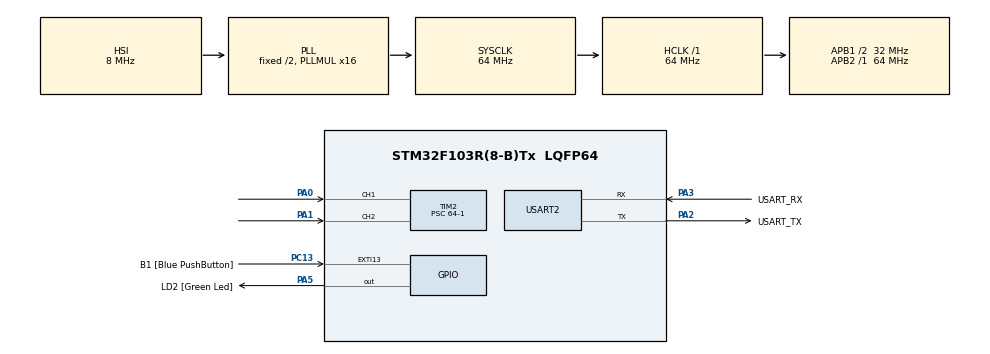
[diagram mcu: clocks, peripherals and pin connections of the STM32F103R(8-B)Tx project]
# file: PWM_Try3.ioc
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Mcu.Family=STM32F1
Mcu.Name=STM32F103R(8-B)Tx
Mcu.Package=LQFP64
NVIC.EXTI15_10_IRQn=true\:0\:0\:false\:false\:true\:true\:true\:true
NVIC.PriorityGroup=NVIC_PRIORITYGROUP_4
NVIC.TIM2_IRQn=true\:0\:0\:false\:false\:true\:true\:true\:true
PA0-WKUP.Signal=S_TIM2_CH1_ETR
PA1.Signal=S_TIM2_CH2
PA13.GPIO_Label=TMS
PA13.Mode=Serial_Wire
PA13.Signal=SYS_JTMS-SWDIO
PA14.GPIO_Label=TCK
PA14.Mode=Serial_Wire
PA14.Signal=SYS_JTCK-SWCLK
PA2.GPIO_Label=USART_TX
PA2.GPIO_Mode=GPIO_MODE_AF_PP
PA2.GPIO_PuPd=GPIO_NOPULL
PA2.GPIO_Speed=GPIO_SPEED_FREQ_LOW
PA2.Mode=Asynchronous
PA2.Signal=USART2_TX
PA3.GPIO_Label=USART_RX
PA3.GPIO_Mode=GPIO_MODE_AF_PP
PA3.GPIO_PuPd=GPIO_NOPULL
PA3.GPIO_Speed=GPIO_SPEED_FREQ_LOW
PA3.Mode=Asynchronous
PA3.Signal=USART2_RX
PA5.GPIO_Label=LD2 [Green Led]
PA5.GPIO_ModeDefaultOutputPP=GPIO_MODE_OUTPUT_PP
PA5.GPIO_PuPd=GPIO_NOPULL
PA5.GPIO_Speed=GPIO_SPEED_FREQ_LOW
PA5.Signal=GPIO_Output
PB3.GPIO_Label=SWO
PB3.Signal=SYS_JTDO-TRACESWO
PC13-TAMPER-RTC.GPIO_Label=B1 [Blue PushButton]
PC13-TAMPER-RTC.GPIO_PuPd=GPIO_NOPULL
PC13-TAMPER-RTC.Signal=GPXTI13
PC14-OSC32_IN.Mode=LSE-External-Oscillator
PC14-OSC32_IN.Signal=RCC_OSC32_IN
PC15-OSC32_OUT.Mode=LSE-External-Oscillator
PC15-OSC32_OUT.Signal=RCC_OSC32_OUT
PD0-OSC_IN.Mode=HSE-External-Clock-Source
PD0-OSC_IN.Signal=RCC_OSC_IN
PD1-OSC_OUT.Mode=HSE-External-Clock-Source
PD1-OSC_OUT.Signal=RCC_OSC_OUT
ProjectManager.HeapSize=0x200
ProjectManager.StackSize=0x400
ProjectManager.TargetToolchain=STM32CubeIDE
RCC.AHBFreq_Value=64000000
RCC.APB1CLKDivider=RCC_HCLK_DIV2
RCC.APB1Freq_Value=32000000
RCC.APB1TimFreq_Value=64000000
RCC.APB2Freq_Value=64000000
RCC.APB2TimFreq_Value=64000000
RCC.HCLKFreq_Value=64000000
RCC.PLLMUL=RCC_PLL_MUL16
RCC.RTCClockSelection=RCC_RTCCLKSOURCE_LSE
RCC.SYSCLKFreq_VALUE=64000000
RCC.SYSCLKSource=RCC_SYSCLKSOURCE_PLLCLK
RCC.USBFreq_Value=64000000
SH.S_TIM2_CH1_ETR.0=TIM2_CH1,Input_Capture1_from_TI1
SH.S_TIM2_CH2.0=TIM2_CH2,Input_Capture2_from_TI2
TIM2.Channel-Input_Capture1_from_TI1=TIM_CHANNEL_1
TIM2.Channel-Input_Capture2_from_TI2=TIM_CHANNEL_2
TIM2.ICPolarity_CH2=TIM_INPUTCHANNELPOLARITY_FALLING
TIM2.Prescaler=64-1
USART2.VirtualMode=VM_ASYNC
VP_TIM2_VS_ClockSourceINT.Mode=Internal
board=NUCLEO-F103RB

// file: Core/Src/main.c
/* USER CODE BEGIN Header */
/**
  ******************************************************************************
  * @file           : main.c
  * @brief          : Main program body
  ******************************************************************************
  * @attention
  *
  * Copyright (c) 2024 STMicroelectronics.
  * All rights reserved.
  *
  * This software is licensed under terms that can be found in the LICENSE file
  * in the root directory of this software component.
  * If no LICENSE file comes with this software, it is provided AS-IS.
  *
  ******************************************************************************
  */
/* USER CODE END Header */
#include "main.h"

TIM_HandleTypeDef htim2;

UART_HandleTypeDef huart2;

void SystemClock_Config(void);
static void MX_GPIO_Init(void);
static void MX_USART2_UART_Init(void);
static void MX_TIM2_Init(void);

/* USER CODE BEGIN 0 */
#define TIMCLOCK   64000000
#define PRESCALAR  64

uint32_t IC_Val1 = 0;
uint32_t IC_Val2 = 0;
uint32_t IC_Val3 = 0;
uint32_t Difference = 0;
uint32_t usWidth = 0;
uint32_t duty_cycle = 0;
uint32_t FreqDifference = 0;
int Is_First_Captured = 0;
int FreqCheck = 0;

/* Measure Frequency */
float frequency = 0;
float RealFreq = 0;

void HAL_TIM_IC_CaptureCallback(TIM_HandleTypeDef *htim)
{
	if (htim->Channel == HAL_TIM_ACTIVE_CHANNEL_1)
	{
		if (FreqCheck == 1)
		{
			IC_Val3 = HAL_TIM_ReadCapturedValue(htim, TIM_CHANNEL_1);
			if (IC_Val3 > IC_Val1)
			{
				FreqDifference = IC_Val3-IC_Val1;
			}

			else if (IC_Val1 > IC_Val3)
			{
				FreqDifference = (0xfffF - IC_Val1) + IC_Val3;
			}

			RealFreq = ((float)Difference / (float)FreqDifference) * 100.0;

			FreqCheck = 0;
//			__HAL_TIM_SET_COUNTER(htim, 0);
		}

		if (Is_First_Captured==0) // if the first rising edge is not captured
		{
			IC_Val1 = HAL_TIM_ReadCapturedValue(htim, TIM_CHANNEL_1); // read the first value
			Is_First_Captured = 1;  // set the first captured as true
			__HAL_TIM_SET_CAPTUREPOLARITY(htim, TIM_CHANNEL_1, TIM_INPUTCHANNELPOLARITY_FALLING);
//			__HAL_TIM_SET_COUNTER(htim, 0);

		}

		else if (Is_First_Captured==1)  // If the first rising edge is captured, now we will capture the second edge
		{
			IC_Val2 = HAL_TIM_ReadCapturedValue(htim, TIM_CHANNEL_1);  // read second value

			if (IC_Val2 > IC_Val1)
			{
				Difference = IC_Val2-IC_Val1;
			}

			else if (IC_Val1 > IC_Val2)
			{
				Difference = (0xfffF - IC_Val1) + IC_Val2;
			}

			float refClock = TIMCLOCK/(PRESCALAR);
			float mFactor = 1000000/refClock;

			usWidth = Difference*mFactor;

//			__HAL_TIM_SET_COUNTER(htim, 0);  // reset the counter
//			Is_First_Captured = 0; // set it back to false
			frequency = refClock/Difference;

//			__HAL_TIM_SET_COUNTER(htim, 0);  // reset the counter
			Is_First_Captured = 0; // set it back to false
			FreqCheck = 1;
			__HAL_TIM_SET_CAPTUREPOLARITY(htim, TIM_CHANNEL_1, TIM_INPUTCHANNELPOLARITY_RISING);
		}

	}

//	else if(htim->Channel == HAL_TIM_ACTIVE_CHANNEL_2)
//	{
//		IC_Val3 = HAL_TIM_ReadCapturedValue(htim, TIM_CHANNEL_2); // read the first value
//		//Is_First_Captured = 1;  // set the first captured as true
//		duty_cycle = 100*((IC_Val3 - IC_Val1)/frequency);
//	}
}
/* USER CODE END 0 */

int main(void)
{

  /* MCU Configuration--------------------------------------------------------*/

  /* Reset of all peripherals, Initializes the Flash interface and the Systick. */
  HAL_Init();

  /* Configure the system clock */
  SystemClock_Config();

  /* Initialize all configured peripherals */
  MX_GPIO_Init();
  MX_USART2_UART_Init();
  MX_TIM2_Init();
  /* USER CODE BEGIN 2 */
  HAL_TIM_IC_Start_IT(&htim2, TIM_CHANNEL_1);
  HAL_TIM_IC_Start_IT(&htim2, TIM_CHANNEL_2);
  /* USER CODE END 2 */

  /* Infinite loop */
  while (1)
  {

  }
}

void SystemClock_Config(void)
{
  RCC_OscInitTypeDef RCC_OscInitStruct = {0};
  RCC_ClkInitTypeDef RCC_ClkInitStruct = {0};

  /** Initializes the RCC Oscillators according to the specified parameters
  * in the RCC_OscInitTypeDef structure.
  */
  RCC_OscInitStruct.OscillatorType = RCC_OSCILLATORTYPE_HSI;
  RCC_OscInitStruct.HSIState = RCC_HSI_ON;
  RCC_OscInitStruct.HSICalibrationValue = RCC_HSICALIBRATION_DEFAULT;
  RCC_OscInitStruct.PLL.PLLState = RCC_PLL_ON;
  RCC_OscInitStruct.PLL.PLLSource = RCC_PLLSOURCE_HSI_DIV2;
  RCC_OscInitStruct.PLL.PLLMUL = RCC_PLL_MUL16;
  if (HAL_RCC_OscConfig(&RCC_OscInitStruct) != HAL_OK)
  {
    Error_Handler();
  }

  /** Initializes the CPU, AHB and APB buses clocks
  */
  RCC_ClkInitStruct.ClockType = RCC_CLOCKTYPE_HCLK|RCC_CLOCKTYPE_SYSCLK
                              |RCC_CLOCKTYPE_PCLK1|RCC_CLOCKTYPE_PCLK2;
  RCC_ClkInitStruct.SYSCLKSource = RCC_SYSCLKSOURCE_PLLCLK;
  RCC_ClkInitStruct.AHBCLKDivider = RCC_SYSCLK_DIV1;
  RCC_ClkInitStruct.APB1CLKDivider = RCC_HCLK_DIV2;
  RCC_ClkInitStruct.APB2CLKDivider = RCC_HCLK_DIV1;

  if (HAL_RCC_ClockConfig(&RCC_ClkInitStruct, FLASH_LATENCY_2) != HAL_OK)
  {
    Error_Handler();
  }
}

static void MX_TIM2_Init(void)
{

  TIM_ClockConfigTypeDef sClockSourceConfig = {0};
  TIM_MasterConfigTypeDef sMasterConfig = {0};
  TIM_IC_InitTypeDef sConfigIC = {0};

  htim2.Instance = TIM2;
  htim2.Init.Prescaler = 64-1;
  htim2.Init.CounterMode = TIM_COUNTERMODE_UP;
  htim2.Init.Period = 65535;
  htim2.Init.ClockDivision = TIM_CLOCKDIVISION_DIV1;
  htim2.Init.AutoReloadPreload = TIM_AUTORELOAD_PRELOAD_DISABLE;
  if (HAL_TIM_Base_Init(&htim2) != HAL_OK)
  {
    Error_Handler();
  }
  sClockSourceConfig.ClockSource = TIM_CLOCKSOURCE_INTERNAL;
  if (HAL_TIM_ConfigClockSource(&htim2, &sClockSourceConfig) != HAL_OK)
  {
    Error_Handler();
  }
  if (HAL_TIM_IC_Init(&htim2) != HAL_OK)
  {
    Error_Handler();
  }
  sMasterConfig.MasterOutputTrigger = TIM_TRGO_RESET;
  sMasterConfig.MasterSlaveMode = TIM_MASTERSLAVEMODE_DISABLE;
  if (HAL_TIMEx_MasterConfigSynchronization(&htim2, &sMasterConfig) != HAL_OK)
  {
    Error_Handler();
  }
  sConfigIC.ICPolarity = TIM_INPUTCHANNELPOLARITY_RISING;
  sConfigIC.ICSelection = TIM_ICSELECTION_DIRECTTI;
  sConfigIC.ICPrescaler = TIM_ICPSC_DIV1;
  sConfigIC.ICFilter = 0;
  if (HAL_TIM_IC_ConfigChannel(&htim2, &sConfigIC, TIM_CHANNEL_1) != HAL_OK)
  {
    Error_Handler();
  }
  sConfigIC.ICPolarity = TIM_INPUTCHANNELPOLARITY_FALLING;
  if (HAL_TIM_IC_ConfigChannel(&htim2, &sConfigIC, TIM_CHANNEL_2) != HAL_OK)
  {
    Error_Handler();
  }

}

static void MX_USART2_UART_Init(void)
{

  huart2.Instance = USART2;
  huart2.Init.BaudRate = 115200;
  huart2.Init.WordLength = UART_WORDLENGTH_8B;
  huart2.Init.StopBits = UART_STOPBITS_1;
  huart2.Init.Parity = UART_PARITY_NONE;
  huart2.Init.Mode = UART_MODE_TX_RX;
  huart2.Init.HwFlowCtl = UART_HWCONTROL_NONE;
  huart2.Init.OverSampling = UART_OVERSAMPLING_16;
  if (HAL_UART_Init(&huart2) != HAL_OK)
  {
    Error_Handler();
  }

}

static void MX_GPIO_Init(void)
{
  GPIO_InitTypeDef GPIO_InitStruct = {0};

  /* GPIO Ports Clock Enable */
  __HAL_RCC_GPIOC_CLK_ENABLE();
  __HAL_RCC_GPIOD_CLK_ENABLE();
  __HAL_RCC_GPIOA_CLK_ENABLE();
  __HAL_RCC_GPIOB_CLK_ENABLE();

  /*Configure GPIO pin Output Level */
  HAL_GPIO_WritePin(LD2_GPIO_Port, LD2_Pin, GPIO_PIN_RESET);

  /*Configure GPIO pin : B1_Pin */
  GPIO_InitStruct.Pin = B1_Pin;
  GPIO_InitStruct.Mode = GPIO_MODE_IT_RISING;
  GPIO_InitStruct.Pull = GPIO_NOPULL;
  HAL_GPIO_Init(B1_GPIO_Port, &GPIO_InitStruct);

  /*Configure GPIO pin : LD2_Pin */
  GPIO_InitStruct.Pin = LD2_Pin;
  GPIO_InitStruct.Mode = GPIO_MODE_OUTPUT_PP;
  GPIO_InitStruct.Pull = GPIO_NOPULL;
  GPIO_InitStruct.Speed = GPIO_SPEED_FREQ_LOW;
  HAL_GPIO_Init(LD2_GPIO_Port, &GPIO_InitStruct);

  /* EXTI interrupt init*/
  HAL_NVIC_SetPriority(EXTI15_10_IRQn, 0, 0);
  HAL_NVIC_EnableIRQ(EXTI15_10_IRQn);

}

void Error_Handler(void)
{
  __disable_irq();
  while (1)
  {
  }
}
